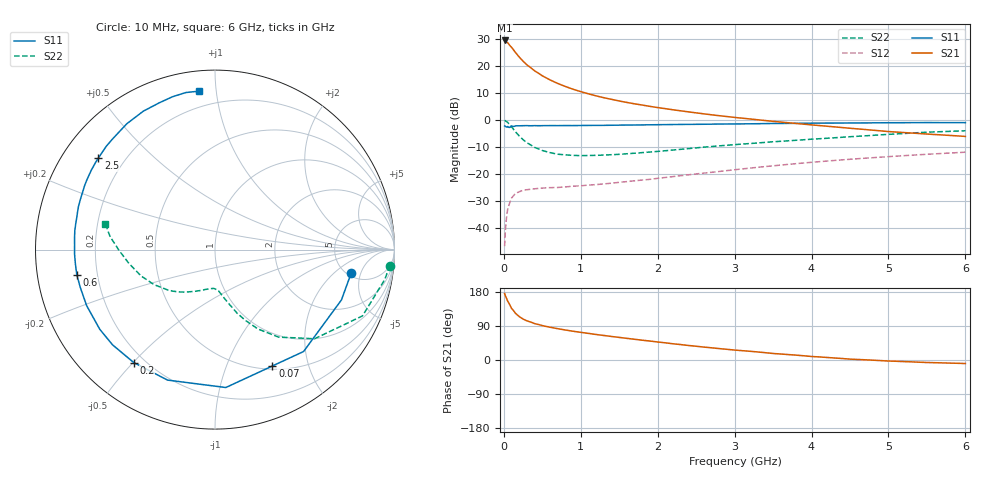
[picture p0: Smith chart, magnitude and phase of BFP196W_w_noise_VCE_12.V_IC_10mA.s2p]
! Infineon Technologies  Discrete & RF Semiconductors
! BFP196W
! VCE =  12. V,  IC =  10 mA
! Common Emitter S-Parameters:  Jan 2017
# GHz  S  MA  R  50
!  f  S11  S21  S12  S22
! GHz  MAG  ANG  MAG  ANG  MAG  ANG  MAG  ANG
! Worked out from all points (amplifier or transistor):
!   77 points, 10 MHz to 6 GHz, reference 50 ohm
!   highest |S21| = 29.5 dB at 10 MHz (marker M1)
!   |S21| within 3 dB of that: start of sweep to 112.7 MHz
!   unconditionally stable (mu >= 1): 1.283 GHz to 3.157 GHz
!   at 130 MHz: K = 0.15, MSG = 26.9 dB, |S12| = -28.0 dB
!   at 2.2 GHz: K = 1.09, MAG = 10.6 dB, |S12| = -21.1 dB
!   at 6 GHz: K = 0.87, MSG = 2.9 dB, |S12| = -12.0 dB
!   lowest NFmin = 0.91 dB at 450 MHz
!   S11 on the Smith chart (normalised r, x): 10 MHz: 5.44, -3.47; 70 MHz: 0.54, -1.47; 200 MHz: 0.16, -0.50; 600 MHz: 0.12, -0.09; 2.5 GHz: 0.11, +0.34; 6 GHz: 0.11, +0.90
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0.01  0.7702 -9.7  29.85 175.5  0.0045 80.2  0.9784 -5.2
0.02  0.7583 -21.7  29.22 169.6  0.0089 76.5  0.9604 -10.0
0.05  0.7523 -49.0  27.19 155.2  0.0218 65.2  0.901 -24.2
0.07  0.7229 -63.7  24.93 148.5  0.0269 57.8  0.8292 -30.5
0.1  0.7708 -85.5  22.32 136.2  0.0352 50.9  0.7443 -41.9
0.15  0.7737 -110.0  17.98 123.5  0.0428 40.5  0.6025 -54.0
0.2  0.7753 -125.7  14.67 114.6  0.0462 34.2  0.5029 -61.6
0.25  0.7793 -137.1  12.3 108.0  0.0492 30.7  0.4286 -66.8
0.3  0.7806 -145.3  10.52 103.3  0.0504 27.6  0.3752 -70.8
0.4  0.7804 -156.4  8.139 96.0  0.0524 25.9  0.3078 -76.0
0.5  0.7795 -164.1  6.581 90.8  0.054 25.3  0.2697 -79.8
0.6  0.7827 -169.7  5.527 86.4  0.055 25.8  0.246 -82.8
0.7  0.7819 -174.4  4.746 82.7  0.0554 26.7  0.2301 -85.2
0.8  0.783 -178.4  4.17 79.1  0.0568 28.7  0.2236 -87.7
1.1  0.7881 172.3  3.046 70.2  0.0614 32.8  0.2178 -94.4
1.5  0.7976 162.5  2.241 59.6  0.0691 39.1  0.2288 -103.9
2.1  0.8153 149.4  1.613 45.3  0.0851 46.2  0.2669 -118.8
2.5  0.826 141.8  1.349 36.3  0.0989 48.9  0.3015 -128.4
3.1  0.8418 131.4  1.074 24.6  0.1226 49.8  0.3546 -141.9
4.1  0.8688 116.1  0.784 8.1  0.1671 46.2  0.4458 -162.7
5.1  0.8848 104.4  0.594 -3.4  0.2116 39.3  0.5475 178.4
6  0.8871 95.6  0.492 -9.3  0.2506 31.9  0.6272 166.8
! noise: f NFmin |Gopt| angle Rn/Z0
0.45  0.91  0.36  146  0.06
0.9  1.19  0.53  168  0.05
1.9  2.27  0.71  -158  0.1
2.4  2.77  0.76  -149  0.22
